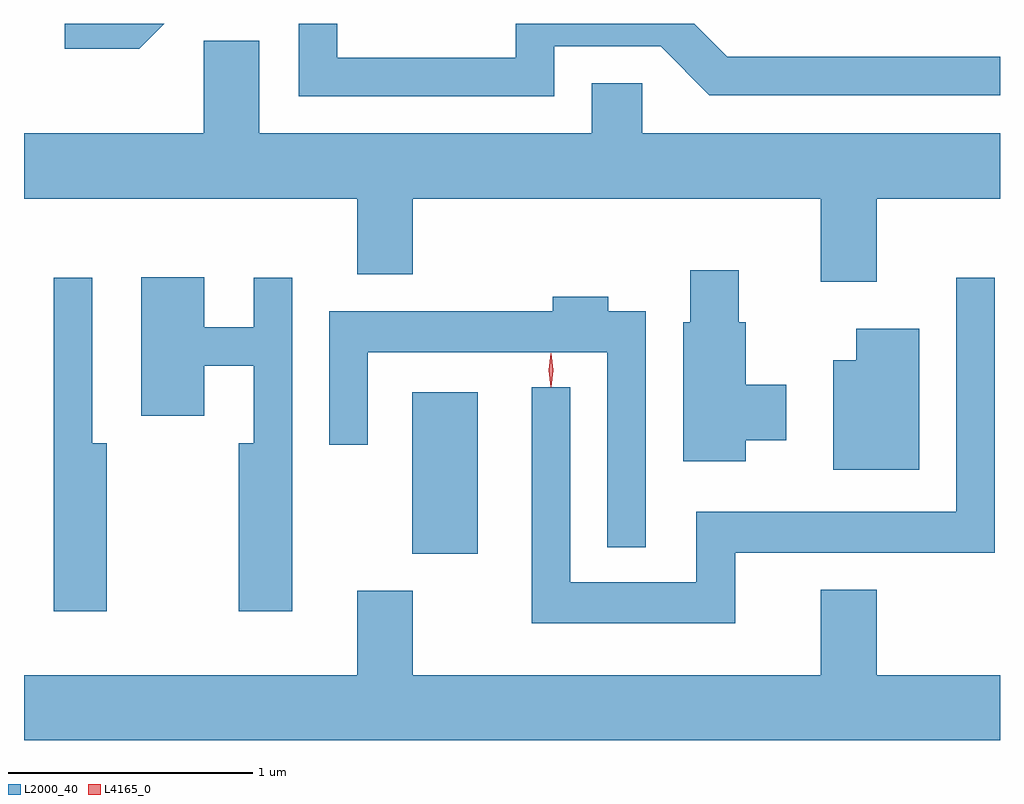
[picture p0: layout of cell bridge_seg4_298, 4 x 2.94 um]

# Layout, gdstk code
import gdstk
lib = gdstk.Library(unit=1e-6, precision=1e-09)
def R(c, l, rs):  # rectangles x0, y0, x1, y1
    for r in rs: c.add(gdstk.rectangle(r[:2], r[2:], *l))
def P(c, l, *ps):  # polygons
    for p in ps: c.add(gdstk.Polygon(p, *l))
L2000_40 = (2000, 40)
L4165_0 = (4165, 0)

bridge_seg4_298 = lib.new_cell('bridge_seg4_298')
R(bridge_seg4_298, L2000_40, [(524.216,1311.041,524.484,1311.704)])
P(bridge_seg4_298, L2000_40, [(524.799,1313.121),(525.234,1313.121),(525.434,1312.921),(526.625,1312.921),(526.625,1313.079),(525.507,1313.079),(525.372,1313.214),(524.641,1313.214),(524.641,1313.074),(523.909,1313.074),(523.909,1313.214),(523.751,1313.214),(523.751,1312.916),(524.799,1312.916)],
  [(523.2,1313.214),(522.793,1313.214),(522.793,1313.111),(523.097,1313.111)],
  [(526.119,1312.496),(526.625,1312.496),(526.625,1312.764),(525.159,1312.764),(525.159,1312.969),(524.951,1312.969),(524.951,1312.764),(523.589,1312.764),(523.589,1313.144),(523.361,1313.144),(523.361,1312.764),(522.625,1312.764),(522.625,1312.496),(523.991,1312.496),(523.991,1312.186),(524.219,1312.186),(524.219,1312.496),(525.891,1312.496),(525.891,1312.156),(526.119,1312.156)],
  [(525.584,1311.506),(525.749,1311.506),(525.749,1311.734),(525.584,1311.734),(525.584,1311.989),(525.554,1311.989),(525.554,1312.204),(525.356,1312.204),(525.356,1311.989),(525.326,1311.989),(525.326,1311.421),(525.584,1311.421)],
  [(523.724,1312.173),(523.566,1312.173),(523.566,1311.969),(523.364,1311.969),(523.364,1312.174),(523.106,1312.174),(523.106,1311.606),(523.364,1311.606),(523.364,1311.811),(523.566,1311.811),(523.566,1311.494),(523.506,1311.494),(523.506,1310.806),(523.724,1310.806)],
  [(525.539,1311.046),(526.604,1311.046),(526.604,1312.173),(526.446,1312.173),(526.446,1311.214),(525.381,1311.214),(525.381,1310.924),(524.864,1310.924),(524.864,1311.723),(524.706,1311.723),(524.706,1310.756),(525.539,1310.756)],
  [(522.964,1311.494),(522.904,1311.494),(522.904,1312.173),(522.746,1312.173),(522.746,1310.806),(522.964,1310.806)],
  [(525.174,1312.034),(525.019,1312.034),(525.019,1312.094),(524.791,1312.094),(524.791,1312.034),(523.876,1312.034),(523.876,1311.488),(524.034,1311.488),(524.034,1311.866),(525.016,1311.866),(525.016,1311.068),(525.174,1311.068)],
  [(526.294,1311.964),(526.036,1311.964),(526.036,1311.834),(525.941,1311.834),(525.941,1311.386),(526.294,1311.386)],
  [(526.625,1310.544),(526.119,1310.544),(526.119,1310.894),(525.891,1310.894),(525.891,1310.544),(524.219,1310.544),(524.219,1310.889),(523.991,1310.889),(523.991,1310.544),(522.625,1310.544),(522.625,1310.276),(526.625,1310.276)])
P(bridge_seg4_298, L4165_0, [(524.784,1311.727),(524.775,1311.794),(524.784,1311.86),(524.785,1311.86),(524.785,1311.86),(524.795,1311.794),(524.785,1311.727),(524.785,1311.727)],
  [(524.784,1311.724),(524.775,1311.793),(524.784,1311.862),(524.785,1311.863),(524.785,1311.862),(524.795,1311.793),(524.785,1311.724),(524.785,1311.724)])

lib.write_gds('bridge_seg4_298.gds')
